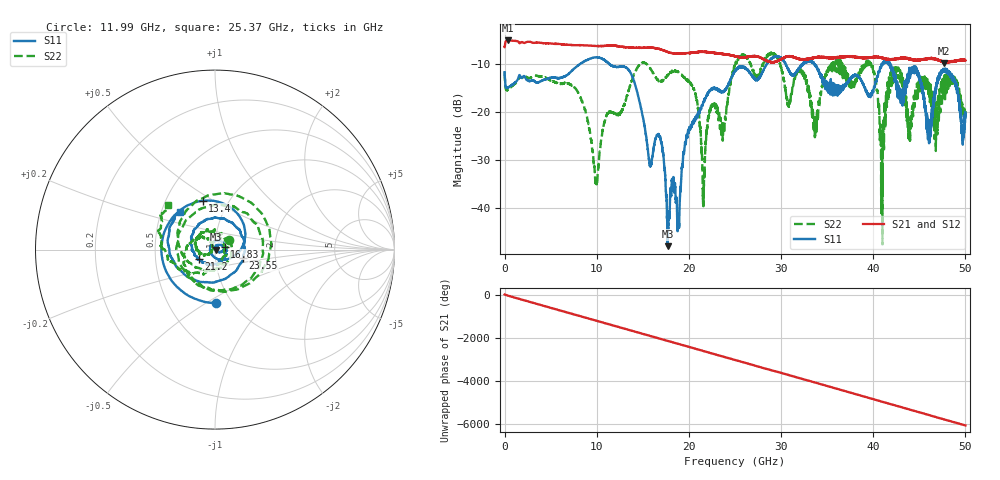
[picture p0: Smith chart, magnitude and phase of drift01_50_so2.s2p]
!Created with skrf (http://scikit-rf.org).
# Hz S RI R 50.0
!freq ReS11 ImS11 ReS21 ImS21 ReS12 ImS12 ReS22 ImS22
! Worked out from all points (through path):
!   10001 points, 300 kHz to 50 GHz, reference 50 ohm
!   highest |S21| = -5.05 dB at 325.3 MHz (marker M1); lowest = -9.8 dB at 47.67 GHz (marker M2)
!   group delay of S21, straight-line fit = 336 ps
!   lowest |S11| = -47.9 dB at 17.69 GHz (marker M3), VSWR 1.01, Z = 50.4 - j0.107 ohm
!   |S11| at or under -10 dB: start of sweep to 8.164 GHz; 11.41 GHz to 28.44 GHz (17.03 GHz wide, 85.4 % of centre); 41.8 GHz to end of sweep (the widest 3 of 13)
!   |S22| runs from -47.5 to -7.5 dB; largest |S21 - S12| = 0.016
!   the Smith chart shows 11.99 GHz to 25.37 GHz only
!   S11 on the Smith chart (normalised r, x): 11.99 GHz: 0.84, -0.55; 13.4 GHz: 0.76, +0.45; 16.83 GHz: 1.11, +0.04; 21.2 GHz: 0.83, -0.09; 23.55 GHz: 1.36, -0.13; 25.37 GHz: 0.62, +0.29
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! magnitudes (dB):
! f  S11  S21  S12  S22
! 300 kHz  -11.7  -6.4  -6.5  -11.7
! 325.3 MHz  -15.0  -5.1  -5.1  -15.4
! 8.335 GHz  -9.8  -6.0  -6.0  -17.5
! 9.93 GHz  -8.6  -6.2  -6.2  -34.4
! 11.99 GHz  -10.6  -6.2  -6.1  -20.3
! 13.4 GHz  -11.0  -6.5  -6.5  -15.7
! 15.77 GHz  -31.0  -6.6  -6.6  -10.8
! 16.67 GHz  -24.6  -6.8  -6.8  -13.4
! 16.83 GHz  -25.0  -6.8  -6.8  -13.6
! 17.69 GHz  -47.9  -7.4  -7.4  -12.3
! 21.2 GHz  -19.6  -7.4  -7.4  -22.9
! 21.57 GHz  -17.8  -7.4  -7.4  -39.6
! 23.55 GHz  -15.7  -7.9  -7.8  -24.3
! 25 GHz  -11.4  -8.3  -8.4  -10.5
! 25.37 GHz  -10.8  -8.5  -8.5  -8.8
! 33.34 GHz  -9.5  -8.8  -8.7  -19.2
! 39.49 GHz  -16.6  -8.6  -8.6  -10.1
! 40.94 GHz  -9.9  -8.6  -8.7  -27.6
! 41.67 GHz  -10.0  -8.9  -9.0  -15.4
! 46.09 GHz  -25.8  -8.9  -8.8  -14.8
! 47.67 GHz  -11.3  -9.8  -9.6  -14.6
! 50 GHz  -20.4  -9.3  -9.2  -20.1
